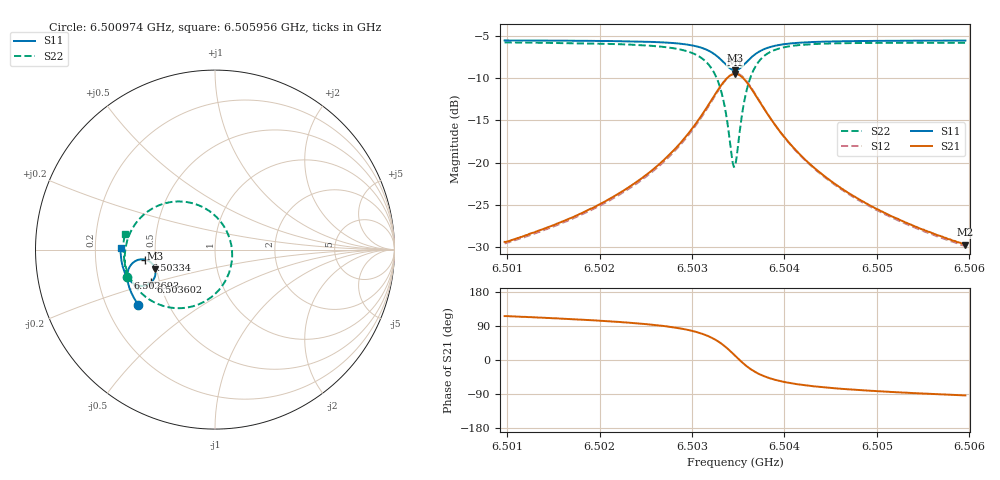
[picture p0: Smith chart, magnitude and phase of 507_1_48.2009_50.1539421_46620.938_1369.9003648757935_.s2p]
#  HZ  S  RI  R  50.00
! Rohde & Schwarz Vector Network Analyzer
! Rohde-Schwarz,ZNB20-2Port,1311601062101988,3.16
! Created: UTC 3/20/2024, 11:58:48 AM
! freq[Hz]  re:S11  im:S11  re:S21  im:S21  re:S12  im:S12  re:S22  im:S22
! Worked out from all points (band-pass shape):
!   401 points, 6.500974 GHz to 6.505956 GHz, reference 50 ohm
!   highest |S21| = -9.52 dB at 6.503465 GHz (marker M1); lowest = -29.7 dB at 6.505956 GHz (marker M2)
!   |S21| within 3 dB of the highest: 6.503216 GHz to 6.503715 GHz (498.6 kHz wide, 0.00767 % of centre)
!   lowest |S11| = -9.1 dB at 6.503465 GHz (marker M3), VSWR 2.08, Z = 24.5 - j5.9 ohm
!   |S11| at or under -10 dB: nowhere
!   |S22| runs from -20.5 to -5.8 dB; largest |S21 - S12| = 0.011
!   S11 on the Smith chart (normalised r, x): 6.500974 GHz: 0.34, -0.29; 6.502693 GHz: 0.33, -0.14; 6.50334 GHz: 0.44, -0.06; 6.503602 GHz: 0.45, -0.19; 6.505956 GHz: 0.31, +0.01
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6.500974e9  -0.4271 -0.3091  -0.0148 0.0306  -0.0133 0.0305  -0.49 -0.1533
6.5018084e9  -0.463 -0.2471  -0.0142 0.0482  -0.0119 0.0479  -0.503 -0.0643
6.5022692e9  -0.479 -0.2061  -0.0112 0.0678  -0.00832 0.0668  -0.4997 0.00155
6.5026429e9  -0.4878 -0.1645  -0.00202 0.0975  0.00145 0.0953  -0.4799 0.0771
6.5026927e9  -0.4884 -0.1578  0.000347 0.1032  0.00392 0.1007  -0.4745 0.0897
6.5029542e9  -0.4841 -0.1166  0.0269 0.1446  0.0302 0.1404  -0.4199 0.1726
6.5031411e9  -0.4623 -0.0782  0.0817 0.187  0.0837 0.1812  -0.3151 0.2454
6.5032531e9  -0.4293 -0.0574  0.1515 0.2047  0.1519 0.1991  -0.1891 0.2679
6.5033403e9  -0.3882 -0.0558  0.2321 0.1883  0.2321 0.1841  -0.0502 0.227
6.5034275e9  -0.3457 -0.0841  0.3098 0.1153  0.3121 0.1115  0.0738 0.0832
6.5034524e9  -0.3377 -0.0982  0.3231 0.0838  0.3265 0.0795  0.091 0.0242
6.5034649e9  -0.3347 -0.1058  0.3275 0.0672  0.3311 0.0624  0.095 -0.00689
6.5034898e9  -0.3318 -0.1218  0.3313 0.0329  0.3352 0.027  0.093 -0.0695
6.5035271e9  -0.3337 -0.1455  0.3242 -0.0166  0.328 -0.0249  0.0666 -0.1572
6.5036019e9  -0.3556 -0.1823  0.2785 -0.0925  0.279 -0.1033  -0.0413 -0.2793
6.5037015e9  -0.3957 -0.2017  0.2014 -0.1357  0.1971 -0.1455  -0.1982 -0.3264
6.5038634e9  -0.4448 -0.1941  0.1145 -0.1358  0.1078 -0.1409  -0.3566 -0.2837
6.5040378e9  -0.4737 -0.173  0.0669 -0.1152  0.0609 -0.1177  -0.4341 -0.2173
6.5042993e9  -0.4962 -0.1416  0.0344 -0.0891  0.0297 -0.0896  -0.4814 -0.1401
6.5046854e9  -0.5122 -0.1011  0.0146 -0.0648  0.0115 -0.0645  -0.5043 -0.0628
6.5051338e9  -0.5214 -0.0594  0.00515 -0.0486  0.00285 -0.0479  -0.5103 0.000875
6.5059558e9  -0.5264 0.0104  -0.002 -0.0326  -0.00333 -0.0319  -0.5027 0.0883
